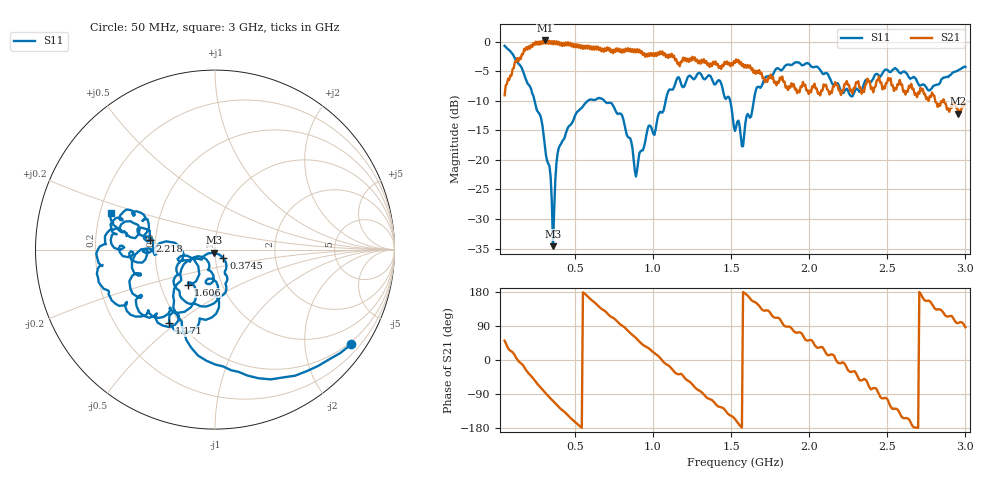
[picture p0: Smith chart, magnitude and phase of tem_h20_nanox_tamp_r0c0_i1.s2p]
! nanovna_capture.py 2026-10-26T21:49:20+0900
! NanoVNA-F_V2 fw 0.6.0 SN 4A3639384505514B
! cal: load open short thru cal'ed  over 50000000-3000000000 Hz, 201 points
! points 401, avg 4
! TEM h=20, tampered Nano X, 0 deg, centred, interleaved run T1
# HZ S RI R 50
! S12 and S22 are not measured (written as 0)
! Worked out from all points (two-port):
!   401 points, 50 MHz to 3 GHz, reference 50 ohm
!   highest |S21| = 0.23 dB at 308.1 MHz (marker M1); lowest = -12.1 dB at 2.956 GHz (marker M2)
!   |S21| within 3 dB of the highest: 130.9266 MHz to 131.359 MHz (432.5 kHz wide, 0.33 % of centre); 154.6 MHz to 1.138 GHz (983.6 MHz wide, 152 % of centre) (the widest 2 of 7)
!   lowest |S11| = -34.6 dB at 359.8 MHz (marker M3), VSWR 1.04, Z = 49.4 - j1.73 ohm
!   |S11| at or under -10 dB: 241.8 MHz to 582.2 MHz (340.4 MHz wide, 82.6 % of centre); 688.9 MHz to 1.081 GHz (392.1 MHz wide, 44.3 % of centre); 1.494 GHz to 1.645 GHz (151 MHz wide, 9.62 % of centre)
!   S12 and S22 are empty: the file has one direction only
!   S11 on the Smith chart (normalised r, x): 50 MHz: 0.43, -3.14; 374.5 MHz: 1.09, -0.10; 1.171 GHz: 0.44, -0.47; 1.606 GHz: 0.69, -0.29; 2.218 GHz: 0.46, +0.05; 3 GHz: 0.25, +0.16
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5e7  0.7597 -0.5268  0.2222 0.2743  0 0  0 0
1.01625e8  0.3112 -0.7231  0.5532 0.2037  0 0  0 0
1.75375e8  -0.1588 -0.5048  0.8272 -0.2815  0 0  0 0
3.08125e8  -0.1196 -0.0499  0.0787 -1.024  0 0  0 0
3.5975e8  -0.0062 -0.0176  -0.2952 -0.9081  0 0  0 0
3.745e8  0.0473 -0.0477  -0.3934 -0.8713  0 0  0 0
4.04e8  0.0553 -0.1206  -0.5609 -0.748  0 0  0 0
5.44125e8  0.0161 -0.2758  -0.933 -0.0198  0 0  0 0
7.80125e8  -0.2036 -0.1387  -0.1234 0.8678  0 0  0 0
8.9075e8  -0.0485 -0.0538  0.4269 0.694  0 0  0 0
1.03825e9  0.000798 -0.2488  0.7676 0.1196  0 0  0 0
1.171e9  -0.2564 -0.4092  0.4947 -0.3758  0 0  0 0
1.325875e9  -0.4122 -0.2519  -0.0144 -0.712  0 0  0 0
1.525e9  -0.1742 -0.0255  -0.6022 -0.272  0 0  0 0
1.606125e9  -0.1492 -0.195  -0.6263 0.1106  0 0  0 0
1.783125e9  -0.443 -0.3732  -0.1692 0.4279  0 0  0 0
2.019125e9  -0.6113 0.0297  0.2672 0.324  0 0  0 0
2.21825e9  -0.3644 0.0512  0.3801 -0.0421  0 0  0 0
2.51325e9  -0.5494 0.0877  -0.2101 -0.424  0 0  0 0
2.712375e9  -0.3895 0.1764  -0.4063 0.0353  0 0  0 0
2.95575e9  -0.5615 0.1344  -0.0322 0.245  0 0  0 0
3e9  -0.5784 0.2044  0.0185 0.2903  0 0  0 0
